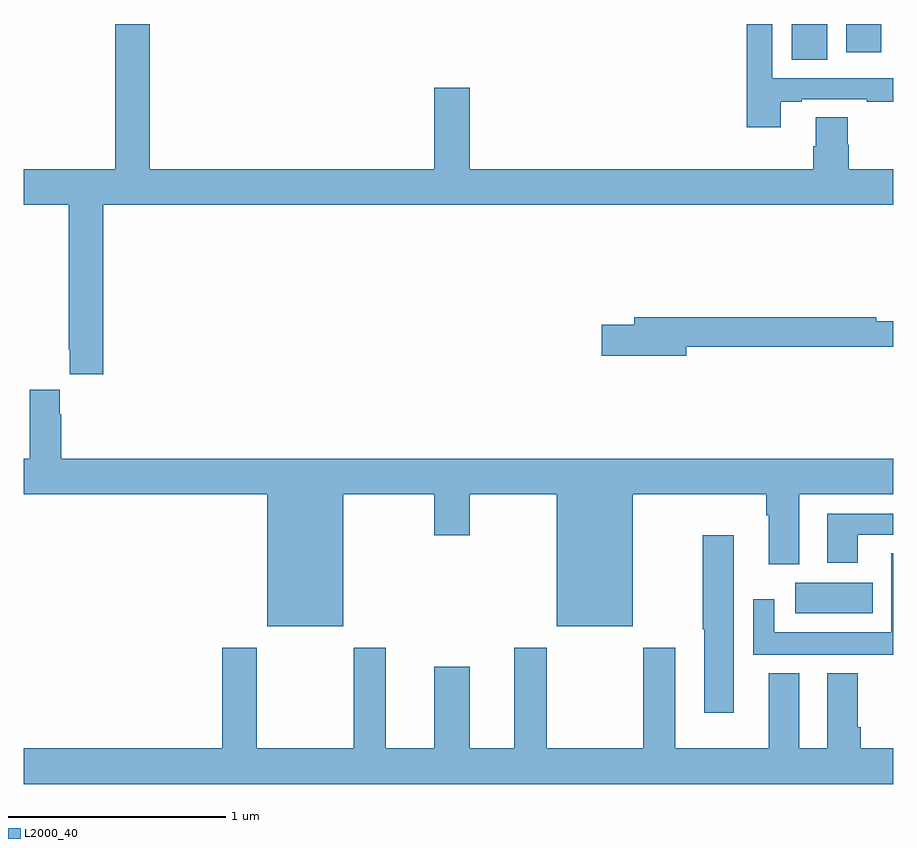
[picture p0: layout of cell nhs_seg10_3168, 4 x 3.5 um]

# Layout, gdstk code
import gdstk
lib = gdstk.Library(unit=1e-6, precision=1e-09)
def R(c, l, rs):  # rectangles x0, y0, x1, y1
    for r in rs: c.add(gdstk.rectangle(r[:2], r[2:], *l))
def P(c, l, *ps):  # polygons
    for p in ps: c.add(gdstk.Polygon(p, *l))
L2000_40 = (2000, 40)

nhs_seg10_3168 = lib.new_cell('nhs_seg10_3168')
R(nhs_seg10_3168, L2000_40, [(286.548,1279.79,286.906,1279.93), (286.532,1282.336,286.696,1282.5), (286.784,1282.371,286.945,1282.5)])
P(nhs_seg10_3168, L2000_40, [(283.367,1281.668),(287,1281.668),(287,1281.832),(286.796,1281.832),(286.796,1281.945),(286.791,1281.945),(286.791,1282.07),(286.643,1282.07),(286.643,1281.938),(286.631,1281.938),(286.631,1281.832),(285.052,1281.832),(285.052,1282.207),(284.888,1282.207),(284.888,1281.832),(283.58,1281.832),(283.58,1282.5),(283.42,1282.5),(283.42,1281.832),(283,1281.832),(283,1281.668),(283.207,1281.668),(283.207,1281.001),(283.211,1281.001),(283.211,1280.889),(283.367,1280.889)],
  [(286.483,1282.143),(286.579,1282.143),(286.579,1282.155),(286.879,1282.155),(286.879,1282.143),(287,1282.143),(287,1282.251),(286.443,1282.251),(286.443,1282.5),(286.327,1282.5),(286.327,1282.026),(286.483,1282.026)],
  [(286.048,1281.016),(287,1281.016),(287,1281.133),(286.922,1281.133),(286.922,1281.152),(285.809,1281.152),(285.809,1281.116),(285.66,1281.116),(285.66,1280.974),(286.048,1280.974)],
  [(284.47,1280.336),(284.888,1280.336),(284.888,1280.148),(285.052,1280.148),(285.052,1280.336),(285.452,1280.336),(285.452,1279.73),(285.802,1279.73),(285.802,1280.336),(286.415,1280.336),(286.415,1280.24),(286.427,1280.24),(286.427,1280.016),(286.567,1280.016),(286.567,1280.336),(287,1280.336),(287,1280.5),(283.172,1280.5),(283.172,1280.705),(283.165,1280.705),(283.165,1280.818),(283.028,1280.818),(283.028,1280.5),(283,1280.5),(283,1280.336),(284.12,1280.336),(284.12,1279.73),(284.47,1279.73)],
  [(286.837,1280.151),(287,1280.151),(287,1280.247),(286.697,1280.247),(286.697,1280.022),(286.837,1280.022)],
  [(286.267,1280.149),(286.123,1280.149),(286.123,1279.717),(286.13,1279.717),(286.13,1279.332),(286.267,1279.332)],
  [(287,1280.066),(286.991,1280.066),(286.991,1279.702),(286.452,1279.702),(286.452,1279.855),(286.356,1279.855),(286.356,1279.598),(287,1279.598)],
  [(287,1279.168),(286.85,1279.168),(286.85,1279.264),(286.837,1279.264),(286.837,1279.513),(286.697,1279.513),(286.697,1279.168),(286.567,1279.168),(286.567,1279.513),(286.427,1279.513),(286.427,1279.168),(285.997,1279.168),(285.997,1279.63),(285.85,1279.63),(285.85,1279.168),(285.405,1279.168),(285.405,1279.63),(285.257,1279.63),(285.257,1279.168),(285.052,1279.168),(285.052,1279.543),(284.888,1279.543),(284.888,1279.168),(284.665,1279.168),(284.665,1279.63),(284.518,1279.63),(284.518,1279.168),(284.073,1279.168),(284.073,1279.63),(283.913,1279.63),(283.913,1279.168),(283,1279.168),(283,1279.004),(287,1279.004)])

lib.write_gds('nhs_seg10_3168.gds')
